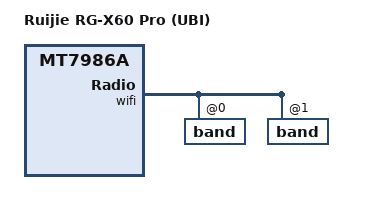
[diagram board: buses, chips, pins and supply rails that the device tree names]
// SPDX-License-Identifier: (GPL-2.0 OR MIT)

/dts-v1/;
#include "mt7986a-ruijie-rg-x60-pro-common.dtsi"

/ {
	compatible = "ruijie,rg-x60-pro-ubi", "mediatek,mt7986a";
	model = "Ruijie RG-X60 Pro (UBI)";
};

&chosen {
	rootdisk = <&ubi_rootdisk>;
};

&partitions {
	partition@100000 {
		compatible = "linux,ubi";
		reg = <0x100000 0x7F00000>;
		label = "ubi";

		volumes {
			ubi_factory: ubi-volume-factory {
				volname = "factory";
			};

			ubi-volume-fip {
				volname = "fip";
			};

			ubi_rootdisk: ubi-volume-fit {
				volname = "fit";
			};

			ubi_ubootenv: ubi-volume-ubootenv {
				volname = "ubootenv";
			};

			ubi_ubootenv2: ubi-volume-ubootenv2 {
				volname = "ubootenv2";
			};
		};
	};
};

&ubi_factory {
	nvmem-layout {
		compatible = "fixed-layout";
		#address-cells = <1>;
		#size-cells = <1>;

		eeprom_factory_0: eeprom@0 {
			reg = <0x0 0x1000>;
		};

		macaddr_factory_24: macaddr@24 {
			compatible = "mac-base";
			reg = <0x24 0x6>;
			#nvmem-cell-cells = <1>;
		};
	};
};

&gmac0 {
	nvmem-cells = <&macaddr_factory_24 1>;
	nvmem-cell-names = "mac-address";
};

&gmac1 {
	nvmem-cells = <&macaddr_factory_24 0>;
	nvmem-cell-names = "mac-address";
};

&wifi {
	band@0 {
		reg = <0>;
		nvmem-cells = <&macaddr_factory_24 2>;
		nvmem-cell-names = "mac-address";
	};

	band@1 {
		reg = <1>;
		nvmem-cells = <&macaddr_factory_24 3>;
		nvmem-cell-names = "mac-address";
	};
};
